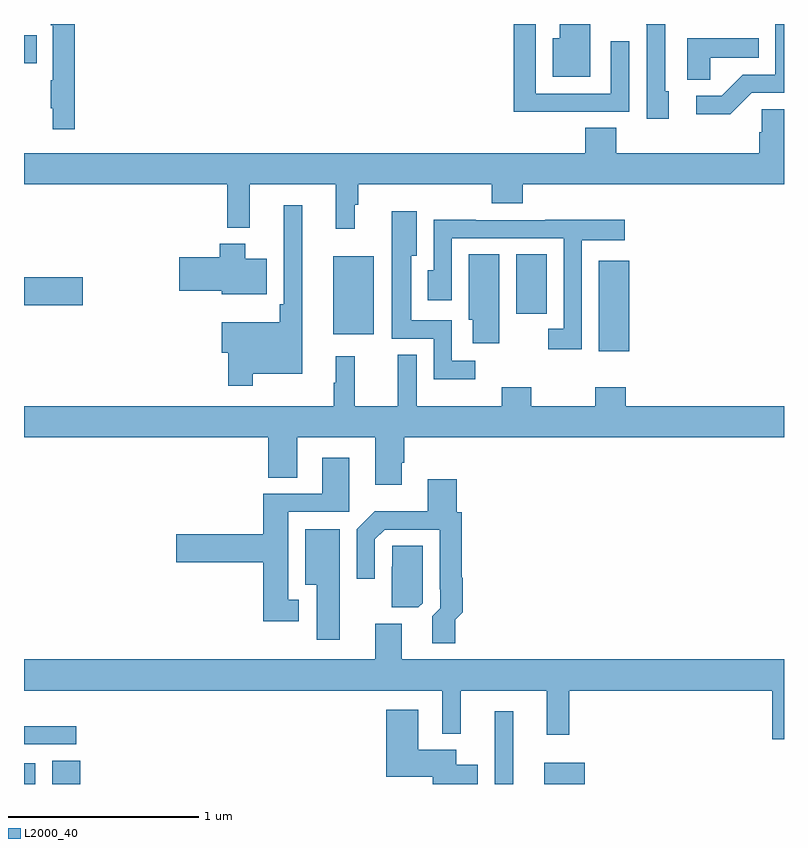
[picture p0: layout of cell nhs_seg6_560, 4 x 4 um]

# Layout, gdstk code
import gdstk
lib = gdstk.Library(unit=1e-6, precision=1e-09)
def R(c, l, rs):  # rectangles x0, y0, x1, y1
    for r in rs: c.add(gdstk.rectangle(r[:2], r[2:], *l))
def P(c, l, *ps):  # polygons
    for p in ps: c.add(gdstk.Polygon(p, *l))
L2000_40 = (2000, 40)

nhs_seg6_560 = lib.new_cell('nhs_seg6_560')
R(nhs_seg6_560, L2000_40, [(145,957.5,145.06,957.61), (145.148,957.5,145.295,957.623), (147.477,957.5,147.574,957.883), (147.737,957.5,147.952,957.613), (145,957.708,145.276,957.804), (148.025,959.778,148.186,960.253), (146.627,959.867,146.842,960.277), (147.59,959.976,147.751,960.287), (145,960.02,145.309,960.167), (145,961.294,145.067,961.441)])
P(nhs_seg6_560, L2000_40, [(147.979,961.5),(147.821,961.5),(147.821,961.426),(147.782,961.426),(147.782,961.223),(147.979,961.223)],
  [(147.869,961.038),(148.185,961.038),(148.185,961.408),(148.089,961.408),(148.089,961.134),(147.693,961.134),(147.693,961.5),(147.577,961.5),(147.577,961.037),(147.869,961.037)],
  [(145.268,961.5),(145.14,961.5),(145.14,961.493),(145.152,961.493),(145.152,961.205),(145.14,961.205),(145.14,961.057),(145.151,961.057),(145.151,960.945),(145.268,960.945)],
  [(148.393,961.146),(148.374,961.146),(148.374,961.5),(148.276,961.5),(148.276,961.495),(148.278,961.495),(148.278,961.002),(148.393,961.002)],
  [(148.83,961.137),(149,961.137),(149,961.5),(148.953,961.5),(148.953,961.233),(148.784,961.233),(148.673,961.122),(148.539,961.122),(148.539,961.025),(148.717,961.025)],
  [(148.611,961.322),(148.868,961.322),(148.868,961.426),(148.49,961.426),(148.49,961.207),(148.611,961.207)],
  [(146.741,960.548),(146.759,960.548),(146.759,960.656),(147.461,960.656),(147.461,960.557),(147.626,960.557),(147.626,960.656),(149,960.656),(149,961.052),(148.884,961.052),(148.884,960.929),(148.871,960.929),(148.871,960.82),(148.118,960.82),(148.118,960.953),(147.953,960.953),(147.953,960.82),(145,960.82),(145,960.656),(146.071,960.656),(146.071,960.428),(146.189,960.428),(146.189,960.656),(146.642,960.656),(146.642,960.423),(146.741,960.423)],
  [(146.203,959.66),(146.464,959.66),(146.464,960.547),(146.367,960.547),(146.367,960.025),(146.347,960.025),(146.347,959.929),(146.04,959.929),(146.04,959.771),(146.074,959.771),(146.074,959.595),(146.203,959.595)],
  [(147.376,959.727),(147.252,959.727),(147.252,959.94),(147.037,959.94),(147.037,960.281),(147.067,960.281),(147.067,960.514),(146.936,960.514),(146.936,959.844),(147.156,959.844),(147.156,959.63),(147.376,959.63)],
  [(147.936,960.362),(148.162,960.362),(148.162,960.47),(147.743,960.47),(147.743,960.468),(147.377,960.468),(147.377,960.47),(147.156,960.47),(147.156,960.204),(147.125,960.204),(147.125,960.045),(147.252,960.045),(147.252,960.372),(147.84,960.372),(147.84,959.895),(147.759,959.895),(147.759,959.787),(147.936,959.787)],
  [(146.278,960.265),(146.164,960.265),(146.164,960.343),(146.03,960.343),(146.03,960.273),(145.818,960.273),(145.818,960.095),(146.042,960.095),(146.042,960.077),(146.278,960.077)],
  [(147.502,960.287),(147.341,960.287),(147.341,959.943),(147.362,959.943),(147.362,959.82),(147.502,959.82)],
  [(146.989,959.191),(147.002,959.191),(147.002,959.324),(149,959.324),(149,959.488),(148.166,959.488),(148.166,959.587),(148.006,959.587),(148.006,959.488),(147.669,959.488),(147.669,959.587),(147.514,959.587),(147.514,959.488),(147.067,959.488),(147.067,959.759),(146.966,959.759),(146.966,959.488),(146.742,959.488),(146.742,959.752),(146.642,959.752),(146.642,959.612),(146.631,959.612),(146.631,959.488),(145,959.488),(145,959.324),(146.285,959.324),(146.285,959.113),(146.437,959.113),(146.437,959.324),(146.849,959.324),(146.849,959.076),(146.989,959.076)],
  [(146.446,958.469),(146.392,958.469),(146.392,958.932),(146.713,958.932),(146.713,959.218),(146.57,959.218),(146.57,959.028),(146.258,959.028),(146.258,958.814),(145.8,958.814),(145.8,958.667),(146.258,958.667),(146.258,958.356),(146.446,958.356)],
  [(147.269,958.365),(147.308,958.404),(147.308,958.586),(147.305,958.586),(147.305,958.929),(147.278,958.929),(147.278,959.104),(147.125,959.104),(147.125,958.936),(146.845,958.936),(146.751,958.842),(146.751,958.581),(146.847,958.581),(146.847,958.788),(146.898,958.839),(147.189,958.839),(147.189,958.525),(147.192,958.525),(147.192,958.425),(147.149,958.382),(147.149,958.242),(147.269,958.242)],
  [(146.662,958.84),(146.48,958.84),(146.48,958.55),(146.54,958.55),(146.54,958.26),(146.662,958.26)],
  [(147.099,958.452),(147.099,958.754),(146.937,958.754),(146.937,958.643),(146.936,958.643),(146.936,958.429),(147.075,958.429)],
  [(149,958.156),(146.989,958.156),(146.989,958.344),(146.849,958.344),(146.849,958.156),(145,958.156),(145,957.992),(147.201,957.992),(147.201,957.764),(147.299,957.764),(147.299,957.992),(147.752,957.992),(147.752,957.759),(147.869,957.759),(147.869,957.992),(148.937,957.992),(148.937,957.735),(149,957.735)],
  [(147.388,957.601),(147.274,957.601),(147.274,957.679),(147.076,957.679),(147.076,957.892),(146.906,957.892),(146.906,957.539),(147.152,957.539),(147.152,957.5),(147.388,957.5)])

lib.write_gds('nhs_seg6_560.gds')
